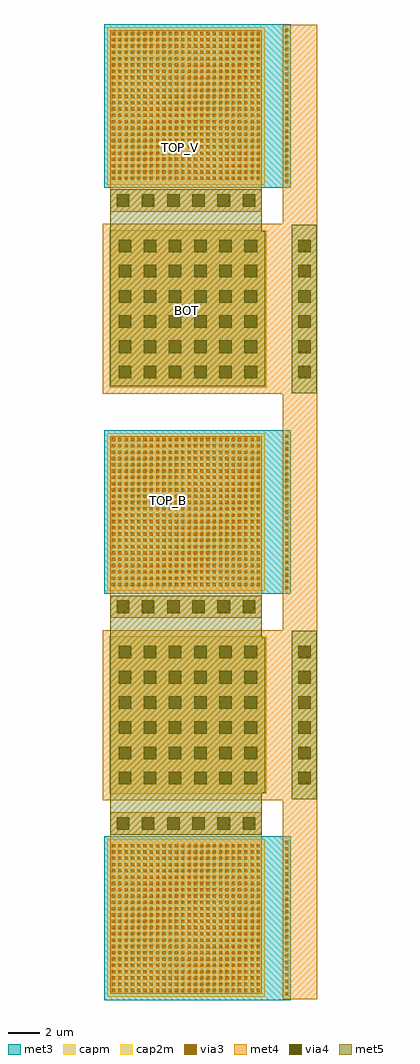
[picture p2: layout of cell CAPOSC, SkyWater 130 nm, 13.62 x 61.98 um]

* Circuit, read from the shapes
.subckt CAPOSC BOT TOP_B TOP_V
XC1 TOP_B BOT sky130_fd_pr__cap_mim_m3_1 w=10 l=10 m=2
XC2 TOP_V BOT sky130_fd_pr__cap_mim_m3_1 w=10 l=10
XC3 TOP_B BOT sky130_fd_pr__cap_mim_m3_2 w=10 l=10
XC4 TOP_V BOT sky130_fd_pr__cap_mim_m3_2 w=10 l=10
.ends

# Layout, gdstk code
from math import pi, radians
import gdstk
lib = gdstk.Library(unit=1e-6, precision=1e-09)
def R(c, l, rs):  # rectangles x0, y0, x1, y1
    for r in rs: c.add(gdstk.rectangle(r[:2], r[2:], *l))
def A(c, l, x, y, w, h, nx, ny, dx, dy):  # array of equal rectangles
    R(c, l, [(x+i*dx, y+j*dy, x+i*dx+w, y+j*dy+h) for i in range(nx) for j in range(ny)])
met3 = (70, 20)
via3 = (70, 44)
met4 = (71, 20)
via4 = (71, 44)
met5 = (72, 20)
capm = (89, 44)
cap2m = (97, 44)

top_connector = lib.new_cell('top_connector')
R(top_connector, met4, [(2.515,3.905,12.125,5.825)])
A(top_connector, via4, 2.92, 4.215, 0.8, 0.8, 6, 1, 1.6, 0)
R(top_connector, met5, [(2.515,2.655,12.125,5.325)])

caposc = lib.new_cell('CAPOSC')
A(caposc, met3, 2.12, -44.93, 11.86, 10.4, 1, 3, 0, 25.79)
A(caposc, via3, 13.62, -44.63, 0.2, 0.2, 1, 25, 0, 0.4)
A(caposc, via3, 2.62, -44.43, 0.2, 0.2, 24, 24, 0.4, 0.4)
A(caposc, via3, 13.62, -18.84, 0.2, 0.2, 1, 25, 0, 0.4)
A(caposc, via3, 2.62, -18.64, 0.2, 0.2, 24, 24, 0.4, 0.4)
A(caposc, via3, 13.62, 6.95, 0.2, 0.2, 1, 25, 0, 0.4)
A(caposc, via3, 2.62, 7.15, 0.2, 0.2, 24, 24, 0.4, 0.4)
A(caposc, met4, 2.515, -44.535, 9.61, 9.61, 1, 3, 0, 25.79)
R(caposc, met4, [(13.48,-44.87,15.655,-32.235), (2.035,-32.235,15.655,-21.435), (13.48,-21.435,15.655,-6.445), (2.035,-6.445,15.655,4.355), (13.48,4.355,15.655,16.99)])
A(caposc, via4, 3.035, -31.235, 0.8, 0.8, 6, 6, 1.6, 1.6)
A(caposc, via4, 14.435, -31.235, 0.8, 0.8, 1, 6, 0, 1.6)
A(caposc, via4, 3.035, -5.445, 0.8, 0.8, 6, 6, 1.6, 1.6)
A(caposc, via4, 14.435, -5.445, 0.8, 0.8, 1, 6, 0, 1.6)
R(caposc, met5, [(14.035,-32.175,15.635,-21.495), (2.515,-31.755,12.355,-21.915), (14.035,-6.385,15.635,4.295), (2.515,-5.965,12.355,3.875)])
A(caposc, capm, 2.32, -44.73, 10, 10, 1, 3, 0, 25.79)
R(caposc, cap2m, [(2.435,-31.835,12.435,-21.835), (2.435,-6.045,12.435,3.955)])
caposc.add(gdstk.Reference(top_connector, (0,-24.57)))
caposc.add(gdstk.Reference(top_connector, (14.64,-29.1), rotation=pi))
caposc.add(gdstk.Reference(top_connector, (0,1.22)))
caposc.add(gdstk.Label('TOP_V', (6.995,9.235), layer=71, texttype=5))
caposc.add(gdstk.Label('TOP_B', (6.185,-13.195), layer=71, texttype=5))
caposc.add(gdstk.Label('BOT', (7.325,-1.16), layer=71, texttype=5))

lib.write_gds('CAPOSC.gds')
